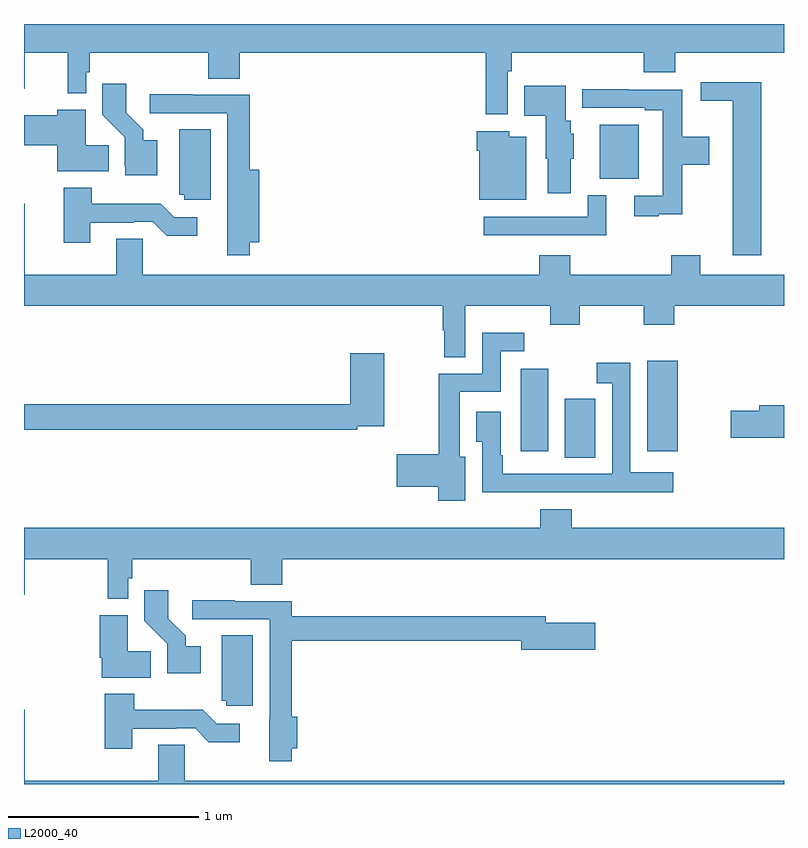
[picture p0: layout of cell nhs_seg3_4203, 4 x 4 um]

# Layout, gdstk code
import gdstk
lib = gdstk.Library(unit=1e-6, precision=1e-09)
def R(c, l, rs):  # rectangles x0, y0, x1, y1
    for r in rs: c.add(gdstk.rectangle(r[:2], r[2:], *l))
def P(c, l, *ps):  # polygons
    for p in ps: c.add(gdstk.Polygon(p, *l))
L2000_40 = (2000, 40)

nhs_seg3_4203 = lib.new_cell('nhs_seg3_4203')
R(nhs_seg3_4203, L2000_40, [(335.846,700.117,336.007,700.428), (335.615,700.151,335.758,700.585), (336.281,700.152,336.442,700.627), (336.029,701.585,336.235,701.869)])
P(nhs_seg3_4203, L2000_40, [(335.547,702.152),(335.567,702.152),(335.567,702.248),(336.263,702.248),(336.263,702.146),(336.428,702.146),(336.428,702.248),(337,702.248),(337,702.4),(333,702.4),(333,702.06),(333.004,702.06),(333.004,702.248),(333.229,702.248),(333.229,702.035),(333.327,702.035),(333.327,702.147),(333.347,702.147),(333.347,702.248),(333.971,702.248),(333.971,702.112),(334.136,702.112),(334.136,702.248),(335.431,702.248),(335.431,701.925),(335.547,701.925)],
  [(336.881,702.094),(336.561,702.094),(336.561,701.996),(336.731,701.996),(336.731,701.184),(336.881,701.184)],
  [(333.7,701.788),(333.628,701.788),(333.628,701.843),(333.538,701.933),(333.538,702.085),(333.412,702.085),(333.412,701.922),(333.531,701.803),(333.531,701.652),(333.533,701.652),(333.533,701.603),(333.7,701.603)],
  [(335.878,701.691),(335.893,701.691),(335.893,701.823),(335.878,701.823),(335.878,701.892),(335.851,701.892),(335.851,702.076),(335.632,702.076),(335.632,701.918),(335.747,701.918),(335.747,701.691),(335.756,701.691),(335.756,701.508),(335.878,701.508)],
  [(336.341,701.399),(336.464,701.399),(336.464,701.659),(336.607,701.659),(336.607,701.806),(336.464,701.806),(336.464,702.054),(336.179,702.054),(336.179,702.056),(335.937,702.056),(335.937,701.958),(336.266,701.958),(336.266,701.946),(336.363,701.946),(336.363,701.496),(336.213,701.496),(336.213,701.388),(336.341,701.388)],
  [(334.187,701.252),(334.238,701.252),(334.238,701.632),(334.187,701.632),(334.187,702.027),(333.887,702.027),(333.887,702.03),(333.663,702.03),(333.663,701.931),(334.071,701.931),(334.071,701.184),(334.187,701.184)],
  [(333.446,701.762),(333.325,701.762),(333.325,701.95),(333.176,701.95),(333.176,701.92),(333,701.92),(333,701.761),(333.176,701.761),(333.176,701.624),(333.446,701.624)],
  [(333.982,701.846),(333.818,701.846),(333.818,701.502),(333.843,701.502),(333.843,701.475),(333.982,701.475)],
  [(335.644,701.806),(335.554,701.806),(335.554,701.836),(335.384,701.836),(335.384,701.732),(335.396,701.732),(335.396,701.474),(335.644,701.474)],
  [(333.349,701.355),(333.578,701.355),(333.578,701.358),(333.678,701.358),(333.751,701.285),(333.913,701.285),(333.913,701.382),(333.792,701.382),(333.719,701.455),(333.357,701.455),(333.357,701.539),(333.209,701.539),(333.209,701.25),(333.349,701.25)],
  [(336.064,701.5),(335.967,701.5),(335.967,701.385),(335.421,701.385),(335.421,701.289),(336.064,701.289)],
  [(335.876,701.182),(335.711,701.182),(335.711,701.08),(333.624,701.08),(333.624,701.27),(333.485,701.27),(333.485,701.08),(333.004,701.08),(333.004,701.455),(333,701.455),(333,700.916),(335.205,700.916),(335.205,700.788),(335.212,700.788),(335.212,700.645),(335.323,700.645),(335.323,700.916),(335.77,700.916),(335.77,700.817),(335.925,700.817),(335.925,700.916),(336.262,700.916),(336.262,700.817),(336.422,700.817),(336.422,700.916),(337,700.916),(337,701.08),(336.559,701.08),(336.559,701.182),(336.407,701.182),(336.407,701.08),(335.876,701.08)],
  [(335.323,700.123),(335.293,700.123),(335.293,700.464),(335.508,700.464),(335.508,700.677),(335.632,700.677),(335.632,700.774),(335.412,700.774),(335.412,700.56),(335.182,700.56),(335.182,700.136),(334.962,700.136),(334.962,699.965),(335.18,699.965),(335.18,699.891),(335.323,699.891)],
  [(334.754,700.284),(334.896,700.284),(334.896,700.666),(334.718,700.666),(334.718,700.4),(333,700.4),(333,700.264),(334.754,700.264)],
  [(335.633,699.936),(335.999,699.936),(335.999,699.935),(336.418,699.935),(336.418,700.042),(336.192,700.042),(336.192,700.618),(336.015,700.618),(336.015,700.509),(336.096,700.509),(336.096,700.032),(335.521,700.032),(335.521,700.129),(335.508,700.129),(335.508,700.36),(335.381,700.36),(335.381,700.201),(335.412,700.201),(335.412,699.935),(335.633,699.935)],
  [(337,700.394),(336.869,700.394),(336.869,700.364),(336.72,700.364),(336.72,700.222),(337,700.222)],
  [(333.549,699.483),(333.569,699.483),(333.569,699.584),(334.193,699.584),(334.193,699.448),(334.358,699.448),(334.358,699.584),(337,699.584),(337,699.748),(335.882,699.748),(335.882,699.847),(335.717,699.847),(335.717,699.748),(333,699.748),(333,699.396),(333.004,699.396),(333.004,699.584),(333.441,699.584),(333.441,699.374),(333.549,699.374)],
  [(333.931,699.124),(333.85,699.124),(333.85,699.179),(333.76,699.269),(333.76,699.421),(333.634,699.421),(333.634,699.258),(333.753,699.139),(333.753,698.984),(333.931,698.984)],
  [(334.409,698.588),(334.439,698.588),(334.439,698.754),(334.409,698.754),(334.409,699.154),(335.618,699.154),(335.618,699.107),(336.007,699.107),(336.007,699.249),(335.746,699.249),(335.746,699.283),(334.409,699.283),(334.409,699.363),(334.109,699.363),(334.109,699.366),(333.885,699.366),(333.885,699.267),(334.293,699.267),(334.293,698.742),(334.292,698.742),(334.292,698.52),(334.409,698.52)],
  [(333.668,699.098),(333.547,699.098),(333.547,699.289),(333.398,699.289),(333.398,699.064),(333.41,699.064),(333.41,698.96),(333.668,698.96)],
  [(334.204,699.182),(334.04,699.182),(334.04,698.838),(334.065,698.838),(334.065,698.811),(334.204,698.811)],
  [(333.571,698.691),(333.8,698.691),(333.8,698.694),(333.9,698.694),(333.973,698.621),(334.135,698.621),(334.135,698.718),(334.014,698.718),(333.941,698.791),(333.579,698.791),(333.579,698.875),(333.424,698.875),(333.424,698.586),(333.571,698.586)],
  [(337,698.416),(333.846,698.416),(333.846,698.606),(333.707,698.606),(333.707,698.416),(333.004,698.416),(333.004,698.791),(333,698.791),(333,698.4),(337,698.4)])

lib.write_gds('nhs_seg3_4203.gds')
